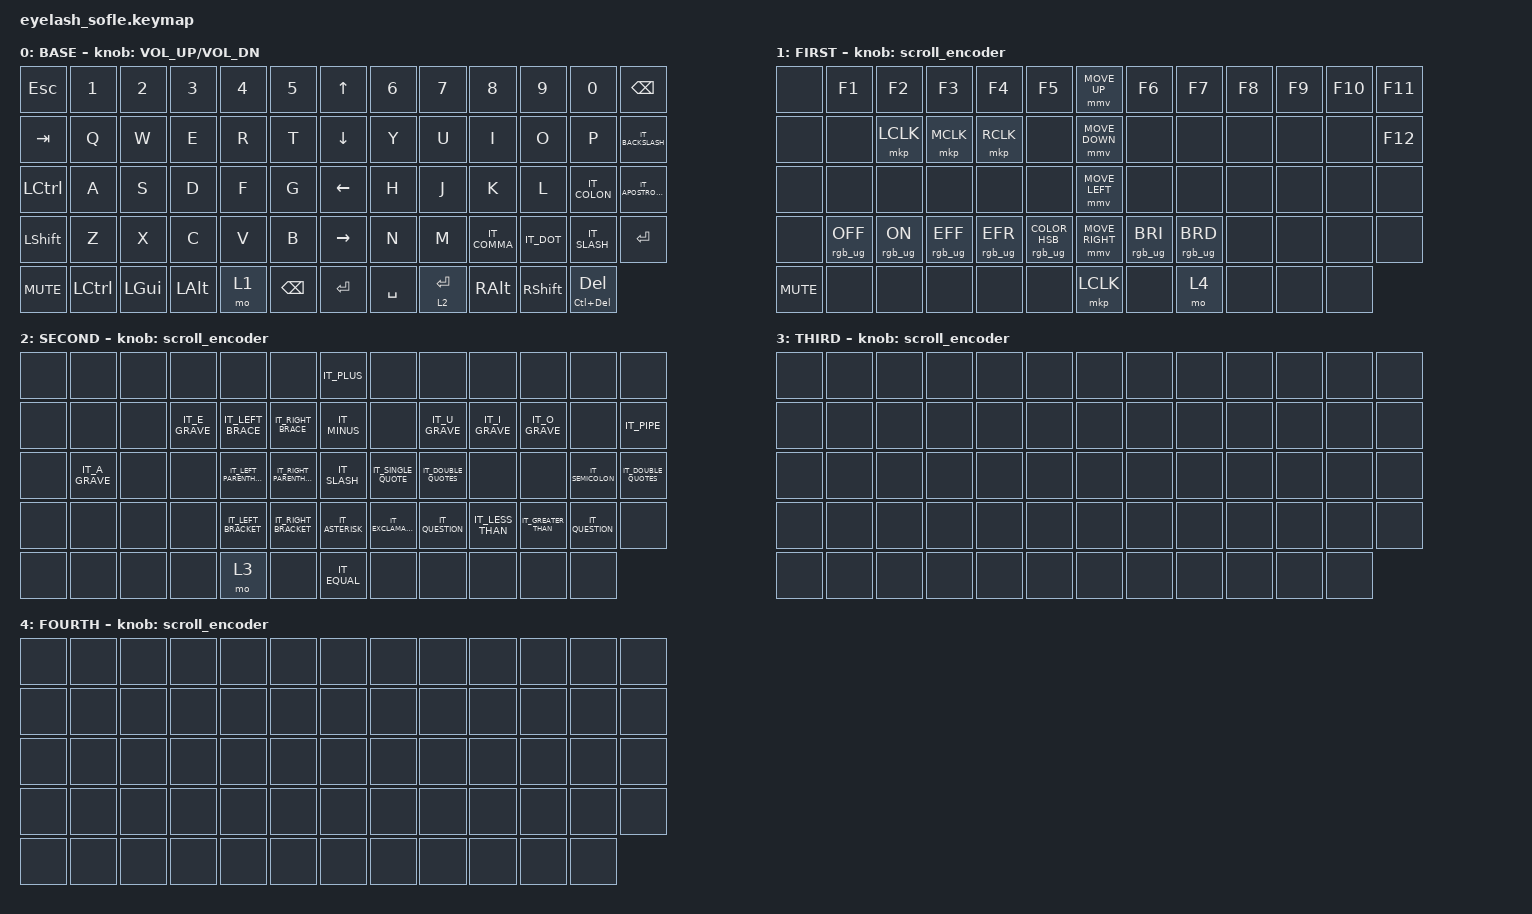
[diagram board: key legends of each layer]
#define ZMK_POINTING_DEFAULT_MOVE_VAL 1200  // 600
#define ZMK_POINTING_DEFAULT_SCRL_VAL 25   // 10

#include <input/processors.dtsi>
#include <zephyr/dt-bindings/input/input-event-codes.h>
#include <behaviors.dtsi>
#include <dt-bindings/zmk/keys.h>
#include <dt-bindings/zmk/pointing.h>
#include <dt-bindings/zmk/rgb.h>
#include "keys_it.h"

&mmv_input_listener { input-processors = <&zip_xy_scaler 2 1>; };

&msc_input_listener { input-processors = <&zip_scroll_scaler 2 1>; };

&msc {
    acceleration-exponent = <1>;      // 0
    time-to-max-speed-ms = <100>;       // 300
    delay-ms = <0>;                   // 0
};

&mmv {
    time-to-max-speed-ms = <500>;
    acceleration-exponent = <1>;
    trigger-period-ms = <16>;
};

&soft_off { hold-time-ms = <2000>; };

/ {
    scroll_encoder: scroll_encoder {
        compatible = "zmk,behavior-sensor-rotate";
        #sensor-binding-cells = <0>;
        bindings = <&msc SCRL_DOWN>, <&msc SCRL_UP>;

        tap-ms = <100>;
    };

    behaviors {
    };

    combos { compatible = "zmk,combos"; };

    keymap {
        compatible = "zmk,keymap";

        BASE {
            bindings = <
&kp ESC     &kp N1     &kp N2        &kp N3        &kp N4  &kp N5           &kp UP_ARROW     &kp N6     &kp N7       &kp N8         &kp N9           &kp N0                 &kp BACKSPACE
&kp TAB     &kp Q      &kp W         &kp E         &kp R   &kp T            &kp DOWN_ARROW   &kp Y      &kp U        &kp I          &kp O            &kp P                  &kp IT_BACKSLASH
&kp LCTRL   &kp A      &kp S         &kp D         &kp F   &kp G            &kp LEFT_ARROW   &kp H      &kp J        &kp K          &kp L            &kp IT_COLON           &kp IT_APOSTROPHE
&kp LSHFT   &kp Z      &kp X         &kp C         &kp V   &kp B            &kp RIGHT_ARROW  &kp N      &kp M        &kp IT_COMMA   &kp IT_DOT       &kp IT_SLASH           &kp ENTER
&kp C_MUTE  &kp LCTRL  &kp LEFT_GUI  &kp LEFT_ALT  &mo 1   &kp BACKSPACE    &kp ENTER        &kp SPACE  &lt 2 ENTER  &kp RIGHT_ALT  &kp RIGHT_SHIFT  &mt LC(DELETE) DELETE
            >;

            sensor-bindings = <&inc_dec_kp C_VOLUME_UP C_VOL_DN>;
            display-name = "BASE";
        };

        FIRST {
            bindings = <
&none       &kp F1           &kp F2          &kp F3           &kp F4           &kp F5                               &mmv MOVE_UP     &kp F6           &kp F7           &kp F8  &kp F9  &kp F10  &kp F11
&none       &none            &mkp LCLK       &mkp MCLK        &mkp RCLK        &none                                &mmv MOVE_DOWN   &none            &none            &none   &none   &none    &kp F12
&none       &none            &none           &none            &none            &none                                &mmv MOVE_LEFT   &none            &none            &none   &none   &none    &none
&none       &rgb_ug RGB_OFF  &rgb_ug RGB_ON  &rgb_ug RGB_EFF  &rgb_ug RGB_EFR  &rgb_ug RGB_COLOR_HSB(157,100,50)    &mmv MOVE_RIGHT  &rgb_ug RGB_BRI  &rgb_ug RGB_BRD  &none   &none   &none    &none
&kp C_MUTE  &none            &none           &none            &none            &none                                &mkp LCLK        &none            &mo 4            &none   &none   &none
            >;

            display-name = "FIRST";
            sensor-bindings = <&scroll_encoder>;
        };

        SECOND {
            bindings = <
&none  &none           &none  &none           &none                    &none                       &kp IT_PLUS      &none                &none                 &none             &none                &none             &none
&none  &none           &none  &kp IT_E_GRAVE  &kp IT_LEFT_BRACE        &kp IT_RIGHT_BRACE          &kp IT_MINUS     &none                &kp IT_U_GRAVE        &kp IT_I_GRAVE    &kp IT_O_GRAVE       &none             &kp IT_PIPE
&none  &kp IT_A_GRAVE  &none  &none           &kp IT_LEFT_PARENTHESIS  &kp IT_RIGHT_PARENTHESIS    &kp IT_SLASH     &kp IT_SINGLE_QUOTE  &kp IT_DOUBLE_QUOTES  &none             &none                &kp IT_SEMICOLON  &kp IT_DOUBLE_QUOTES
&none  &none           &none  &none           &kp IT_LEFT_BRACKET      &kp IT_RIGHT_BRACKET        &kp IT_ASTERISK  &kp IT_EXCLAMATION   &kp IT_QUESTION       &kp IT_LESS_THAN  &kp IT_GREATER_THAN  &kp IT_QUESTION   &none
&none  &none           &none  &none           &mo 3                    &none                       &kp IT_EQUAL     &none                &none                 &none             &none                &none
            >;

            display-name = "SECOND";
            sensor-bindings = <&scroll_encoder>;
        };

        THIRD {
            bindings = <
&none  &none  &none  &none  &none  &none    &none  &none  &none  &none  &none  &none  &none
&none  &none  &none  &none  &none  &none    &none  &none  &none  &none  &none  &none  &none
&none  &none  &none  &none  &none  &none    &none  &none  &none  &none  &none  &none  &none
&none  &none  &none  &none  &none  &none    &none  &none  &none  &none  &none  &none  &none
&none  &none  &none  &none  &none  &none    &none  &none  &none  &none  &none  &none
            >;

            display-name = "THIRD";
            sensor-bindings = <&scroll_encoder>;
        };

        FOURTH {
            bindings = <
&none  &none  &none  &none  &none  &none    &none  &none  &none  &none  &none  &none  &none
&none  &none  &none  &none  &none  &none    &none  &none  &none  &none  &none  &none  &none
&none  &none  &none  &none  &none  &none    &none  &none  &none  &none  &none  &none  &none
&none  &none  &none  &none  &none  &none    &none  &none  &none  &none  &none  &none  &none
&none  &none  &none  &none  &none  &none    &none  &none  &none  &none  &none  &none
            >;

            display-name = "FOURTH";
            sensor-bindings = <&scroll_encoder>;
        };
    };
};
